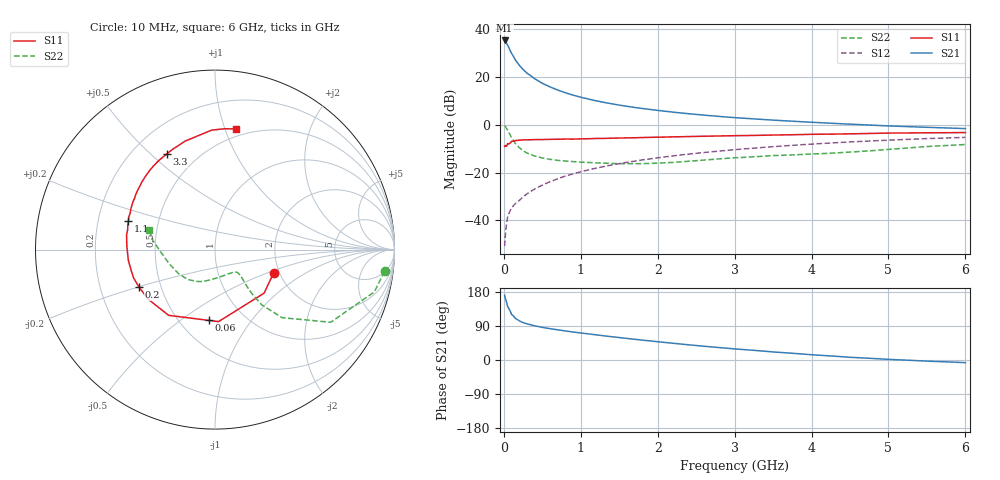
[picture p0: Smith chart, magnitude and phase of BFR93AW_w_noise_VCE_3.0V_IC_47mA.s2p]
! Infineon Technologies  Discrete & RF Semiconductors
! BFR93AW
! VCE =  3.0 V,  IC =  47 mA
! Common Emitter S-Parameters:  Jan 2017
# GHz  S  MA  R  50
!  f  S11  S21  S12  S22
! GHz  MAG  ANG  MAG  ANG  MAG  ANG  MAG  ANG
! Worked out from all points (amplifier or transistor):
!   77 points, 10 MHz to 6 GHz, reference 50 ohm
!   highest |S21| = 35.1 dB at 10 MHz (marker M1)
!   |S21| within 3 dB of that: start of sweep to 65.34 MHz
!   unconditionally stable (mu >= 1): 438 MHz to 2.082 GHz
!   at 130 MHz: K = 0.65, MSG = 30.9 dB, |S12| = -33.6 dB
!   at 2.2 GHz: K = 0.99, MSG = 9.1 dB, |S12| = -13.1 dB
!   at 6 GHz: K = 0.91, MSG = 1.8 dB, |S12| = -5.3 dB
!   lowest NFmin = 2.21 dB at 450 MHz
!   S11 on the Smith chart (normalised r, x): 10 MHz: 1.87, -0.55; 60 MHz: 0.69, -0.64; 200 MHz: 0.38, -0.20; 1.1 GHz: 0.33, +0.14; 3.3 GHz: 0.34, +0.56; 6 GHz: 0.43, +1.09
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0.01  0.3517 -21.6  57.1 170.7  0.0029 80.2  0.9525 -7.3
0.02  0.3657 -41.6  55.69 162.2  0.005 74.9  0.9184 -14.9
0.05  0.4018 -87.2  45.34 140.6  0.0119 66.2  0.7616 -32.1
0.06  0.3959 -95.2  42.11 137.7  0.0132 64.4  0.7134 -34.1
0.1  0.4482 -125.2  30.83 120.3  0.0183 59.7  0.533 -45.4
0.15  0.4636 -143.4  22.37 109.9  0.0224 60.9  0.4044 -49.7
0.2  0.4719 -153.7  17.36 103.4  0.026 64.0  0.3319 -50.1
0.25  0.4801 -160.7  14.15 98.6  0.0309 65.7  0.2868 -49.5
0.3  0.4811 -165.8  11.9 95.4  0.0357 67.1  0.256 -48.4
0.4  0.4865 -172.9  9.064 90.1  0.0451 70.2  0.2211 -46.6
0.5  0.4879 -178.3  7.296 86.1  0.0545 70.7  0.2012 -45.4
0.6  0.492 177.4  6.121 82.7  0.0644 71.3  0.1881 -45.4
0.7  0.4949 173.9  5.267 79.7  0.0738 72.5  0.1795 -45.4
0.9  0.4989 167.3  4.119 73.9  0.0937 72.2  0.1689 -48.3
1.1  0.5075 161.9  3.414 68.9  0.1136 71.4  0.1619 -52.0
1.5  0.5243 152.1  2.552 59.3  0.1529 68.7  0.1532 -64.0
2.1  0.55 139.1  1.898 46.2  0.2125 63.6  0.1594 -87.9
3.1  0.5897 120.3  1.366 27.8  0.3086 53.6  0.2066 -121.7
3.3  0.5965 116.8  1.301 24.7  0.3273 51.5  0.2152 -127.3
4.1  0.6292 103.9  1.099 12.6  0.4004 42.8  0.2469 -150.3
5.1  0.6672 90.3  0.926 0.8  0.4809 31.5  0.3117 179.9
6  0.6824 80.0  0.826 -7.0  0.5413 21.5  0.3842 163.4
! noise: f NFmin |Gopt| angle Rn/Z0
0.45  2.21  0.25  -178  0.17
0.9  2.51  0.3  -168  0.17
1.9  3.61  0.53  -132  0.4
2.4  4.34  0.57  -122  0.75
